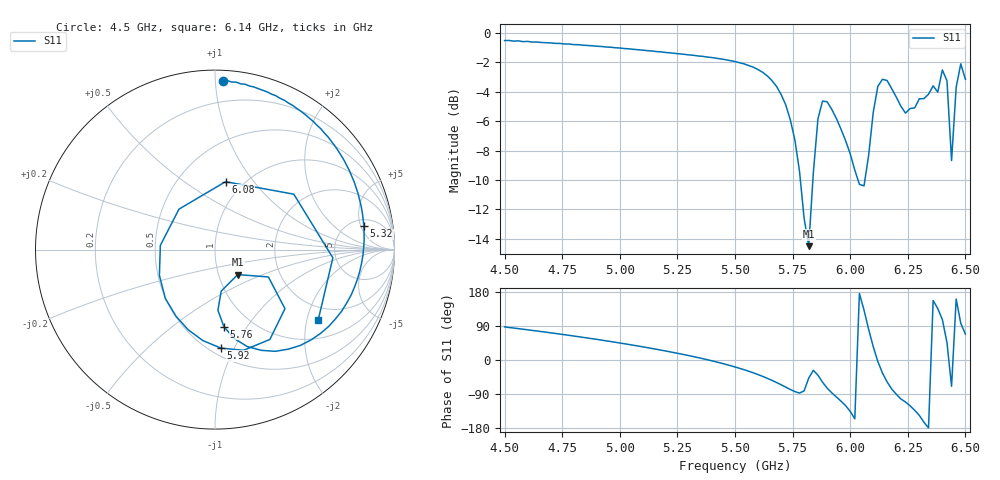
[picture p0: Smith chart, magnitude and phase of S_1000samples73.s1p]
! TOUCHSTONE file generated by CST MICROWAVE STUDIO
! Date and time: Wed Oct 26 21:40:26 2022
! Project name: L.cst
! Parameters = {Di=1.27; Epsilon_r=1.56; InnerDiameter=1.27; Length=2; Lf=10; Lg=60; OuterConductorThickness=0.2921; OuterDiameter=3.6; Wf=3; Wp=41.2; de=1.5; df=6.8; g=0.8; gx=2.66216; gy=3.24345; h=2.34; hf=1.524; px=10.2099; py=14.9235; w=9.7; wx=7.54773; wy=11.68}
! Header version: 2018
! Port assignment regex: !\s*Touchstone port\s*([0-9]+)\s*=\s*(CST MWS port|CST DS port)\s*([0-9]+|Zmin|Zmax)\s*\(\"(.*)\"\)(\s*mode\s*([0-9]+))?.*
! Touchstone port assignment:
! Touchstone port 1 = CST MWS port 1 ("")
# GHz S DB R 50
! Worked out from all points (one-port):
!   101 points, 4.5 GHz to 6.5 GHz, reference 50 ohm
!   lowest |S11| = -14.5 dB at 5.82 GHz (marker M1), VSWR 1.46, Z = 61.7 - j17.8 ohm
!   |S11| at or under -10 dB: 5.784 GHz to 5.838 GHz (54.41 MHz wide, 0.936 % of centre); 6.033742 GHz to 6.063937 GHz (30.19 MHz wide, 0.499 % of centre)
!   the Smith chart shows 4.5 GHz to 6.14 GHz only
!   S11 on the Smith chart (normalised r, x): 4.5 GHz: 0.06, +1.04; 5.32 GHz: 6.43, +5.66; 5.76 GHz: 0.75, -0.79; 5.92 GHz: 0.56, -0.89; 6.08 GHz: 0.83, +0.74; 6.14 GHz: 1.54, -2.35
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4.5  -0.51 87.4
4.76  -0.75 66.7
5  -1.02 44.9
5.26  -1.42 16.6
5.32  -1.52 8.9
5.5  -1.94 -18.4
5.66  -3.23 -53.6
5.76  -7.29 -83.4
5.82  -14.51 -47.7
5.86  -5.84 -40.2
5.88  -4.63 -58.6
5.92  -5.20 -86.6
6  -8.22 -135.4
6.04  -10.30 175.6
6.08  -8.34 81.2
6.1  -5.40 35.1
6.12  -3.63 -4.0
6.14  -3.15 -34.3
6.18  -3.78 -76.3
6.26  -5.14 -121.0
6.3  -4.48 -146.1
6.36  -3.59 157.1
6.4  -2.52 107.0
6.42  -3.25 46.1
6.44  -8.68 -69.3
6.46  -3.69 161.0
6.48  -2.10 96.7
6.5  -3.15 68.5
